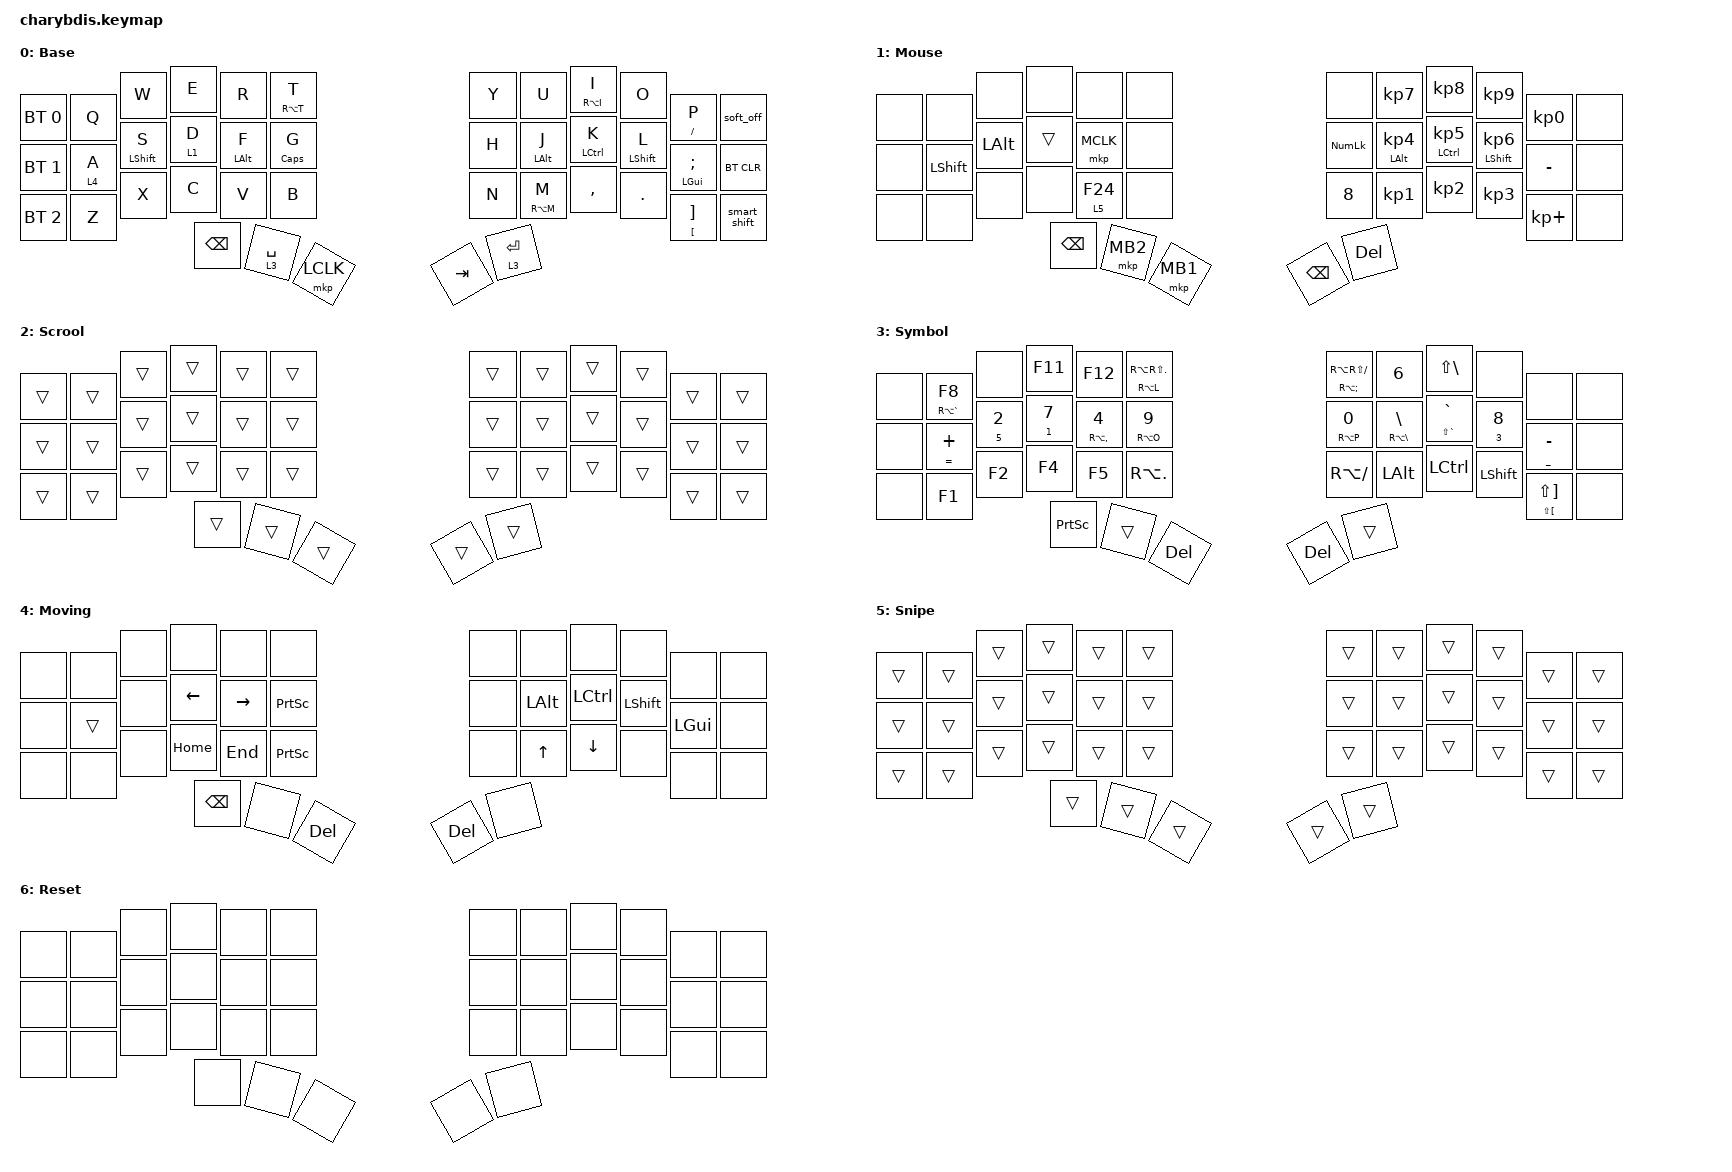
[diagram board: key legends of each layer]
#include <behaviors.dtsi>
#include <dt-bindings/zmk/bt.h>
#include <dt-bindings/zmk/keys.h>
#include <dt-bindings/zmk/pointing.h>

#define BASE 0
#define MOUSE 1
#define SYMBOL 2
#define NUMBER 3
#define FUNCTION 4
#define GAME 5
#define RESET 6
#define KEYS_L 0 1 2 3 4 10 11 12 13 14 20 21 22 23 24
#define KEYS_R 5 6 7 8 9 15 16 17 18 19 25 26 27 28 29
#define THUMBS 30 31 32 33 34 35

&sk {
    release-after-ms = <600>;
    quick-release;
};

&sl { ignore-modifiers; };

&mt { flavor = "tap-preferred"; };

&lt {
    flavor = "balanced";
    tapping-term-ms = <200>;
    quick-tap-ms = <175>;
};

&caps_word { /delete-property/ ignore-modifiers; };

/ {
    behaviors {
        hml: hml {
            compatible = "zmk,behavior-hold-tap";
            #binding-cells = <2>;
            flavor = "balanced";
            tapping-term-ms = <300>;
            quick-tap-ms = <175>;
            require-prior-idle-ms = <250>;
            hold-trigger-key-positions = <KEYS_R THUMBS>;
            hold-trigger-on-release;
            bindings = <&kp>, <&kp>;
        };

        hmr: hmr {
            compatible = "zmk,behavior-hold-tap";
            #binding-cells = <2>;
            flavor = "balanced";
            tapping-term-ms = <300>;
            quick-tap-ms = <175>;
            require-prior-idle-ms = <250>;
            hold-trigger-key-positions = <KEYS_L THUMBS>;
            hold-trigger-on-release;
            bindings = <&kp>, <&kp>;
        };

        hml_s: hml_s {
            compatible = "zmk,behavior-hold-tap";
            #binding-cells = <2>;
            flavor = "balanced";
            tapping-term-ms = <300>;
            quick-tap-ms = <175>;
            require-prior-idle-ms = <0>;
            hold-trigger-key-positions = <KEYS_R THUMBS>;
            hold-trigger-on-release;
            bindings = <&kp>, <&kp>;
        };

        hmr_s: hmr_s {
            compatible = "zmk,behavior-hold-tap";
            #binding-cells = <2>;
            flavor = "balanced";
            tapping-term-ms = <300>;
            quick-tap-ms = <175>;
            require-prior-idle-ms = <0>;
            hold-trigger-key-positions = <KEYS_L THUMBS>;
            hold-trigger-on-release;
            bindings = <&kp>, <&kp>;
        };

        smart_shift: smart_shift {
            compatible = "zmk,behavior-mod-morph";
            #binding-cells = <0>;
            bindings = <&sk LSHIFT>, <&caps_word>;

            mods = <(MOD_LSFT)>;
        };
    };

    combos {
        compatible = "zmk,combos";
        timeout-ms = <20>;
        require-prior-idle-ms = <250>;

        combo_reset_layer_left {
            key-positions = <20 24>;
            bindings = <&to 0>;
        };

        combo_reset_layer_right {
            key-positions = <25 29>;
            bindings = <&to 0>;
        };

        combo_reset_central {
            key-positions = <32 33>;
            bindings = <&bootloader>;
            require-prior-idle-ms = <2000>;
        };

        combo_normal {
            key-positions = <7 8>;
            bindings = <&to 0>;
        };

        combo_SOFT_OFF {
            key-positions = <27 28>;
            bindings = <&soft_off>;
        };

        combo_genshin {
            key-positions = <5 9>;
            bindings = <&to 5>;
        };

        combo_esc {
            key-positions = <1 2>;
            bindings = <&kp ESCAPE>;
        };

        combo_tab {
            key-positions = <2 3>;
            bindings = <&kp TAB>;
        };

        combo_cdel {
            key-positions = <11 12>;
            bindings = <&kp LC(BACKSPACE)>;
        };

        combo_unlock {
            key-positions = <0 4>;
            bindings = <&studio_unlock>;
        };
    };

    chosen { zmk,physical-layout = &charybdis_6col_layout; };

    keymap {
        compatible = "zmk,keymap";

        Base {
            display-name = "Base";
            bindings = <
&bt BT_SEL 0  &kp Q    &kp W        &kp E          &kp R           &mt RA(T) T    &kp Y    &kp U           &mt RA(I) I  &kp O        &mt FSLH P      &soft_off
&bt BT_SEL 1  &lt 4 A  &mt LSHFT S  &lt 1 D        &mt LEFT_ALT F  &mt CAPS G     &kp H    &mt LEFT_ALT J  &mt LCTRL K  &mt LSHFT L  &hmr LGUI SEMI  &bt BT_CLR
&bt BT_SEL 2  &kp Z    &kp X        &kp C          &kp V           &kp B          &kp N    &mt RA(M) M     &kp COMMA    &kp DOT      &mt LBKT RBKT   &smart_shift
                                    &kp BACKSPACE  &lt 3 SPACE     &mkp LCLK      &kp TAB  &lt 3 ENTER
            >;
        };

        Mouse {
            display-name = "Mouse";
            bindings = <
&none  &none      &none     &none          &none      &none       &none           &kp KP_NUMBER_7           &kp KP_NUMBER_8        &kp KP_NUMBER_9        &kp KP_NUMBER_0  &none
&none  &kp LSHFT  &kp LALT  &trans         &mkp MCLK  &none       &kp KP_NUMLOCK  &mt LEFT_ALT KP_NUMBER_4  &mt LCTRL KP_NUMBER_5  &mt LSHFT KP_NUMBER_6  &kp MINUS        &none
&none  &none      &none     &none          &lt 5 F24  &none       &kp N8          &kp KP_NUMBER_1           &kp KP_NUMBER_2        &kp KP_NUMBER_3        &kp KP_PLUS      &none
                            &kp BACKSPACE  &mkp MB2   &mkp MB1    &kp BACKSPACE   &kp DELETE
            >;
        };

        Scrool {
            display-name = "Scrool";
            bindings = <
&trans  &trans  &trans  &trans  &trans  &trans    &trans  &trans  &trans  &trans  &trans  &trans
&trans  &trans  &trans  &trans  &trans  &trans    &trans  &trans  &trans  &trans  &trans  &trans
&trans  &trans  &trans  &trans  &trans  &trans    &trans  &trans  &trans  &trans  &trans  &trans
                        &trans  &trans  &trans    &trans  &trans
            >;
        };

        Sym {
            display-name = "Symbol";
            bindings = <
&none  &mt RA(GRAVE) F8  &none            &kp F11          &kp F12                 &mt RA(L) RA(RS(DOT))    &mt RA(SEMICOLON) RA(RS(FSLH))  &kp NUMBER_6       &kp LS(BACKSLASH)    &none      &none                  &none
&none  &mt EQUAL PLUS    &mt N5 NUMBER_2  &mt NUMBER_1 N7  &mt RA(COMMA) NUMBER_4  &mt RA(O) N9             &mt RA(P) N0                    &mt RA(BSLH) BSLH  &mt LS(GRAVE) GRAVE  &mt N3 N8  &mt UNDER MINUS        &none
&none  &kp F1            &kp F2           &kp F4           &kp F5                  &kp RA(DOT)              &kp RA(FSLH)                    &kp LEFT_ALT       &kp LEFT_CONTROL     &kp LSHFT  &mt LS(LBKT) LS(RBKT)  &none
                                          &kp PRINTSCREEN  &trans                  &kp DELETE               &kp DELETE                      &trans
            >;
        };

        Move {
            display-name = "Moving";
            bindings = <
&none  &none   &none  &none          &none      &none              &none       &none         &none             &none           &none     &none
&none  &trans  &none  &kp LEFT       &kp RIGHT  &kp PRINTSCREEN    &none       &kp LEFT_ALT  &kp LEFT_CONTROL  &kp LEFT_SHIFT  &kp LGUI  &none
&none  &none   &none  &kp HOME       &kp END    &kp PRINTSCREEN    &none       &kp UP_ARROW  &kp DOWN          &none           &none     &none
                      &kp BACKSPACE  &none      &kp DELETE         &kp DELETE  &none
            >;
        };

        Snipe {
            display-name = "Snipe";
            bindings = <
&trans  &trans  &trans  &trans  &trans  &trans    &trans  &trans  &trans  &trans  &trans  &trans
&trans  &trans  &trans  &trans  &trans  &trans    &trans  &trans  &trans  &trans  &trans  &trans
&trans  &trans  &trans  &trans  &trans  &trans    &trans  &trans  &trans  &trans  &trans  &trans
                        &trans  &trans  &trans    &trans  &trans
            >;
        };

        Reset {
            display-name = "Reset";
            bindings = <
&none  &none  &none  &none  &none  &none    &none  &none  &none  &none  &none  &none
&none  &none  &none  &none  &none  &none    &none  &none  &none  &none  &none  &none
&none  &none  &none  &none  &none  &none    &none  &none  &none  &none  &none  &none
                     &none  &none  &none    &none  &none
            >;
        };
    };
};
